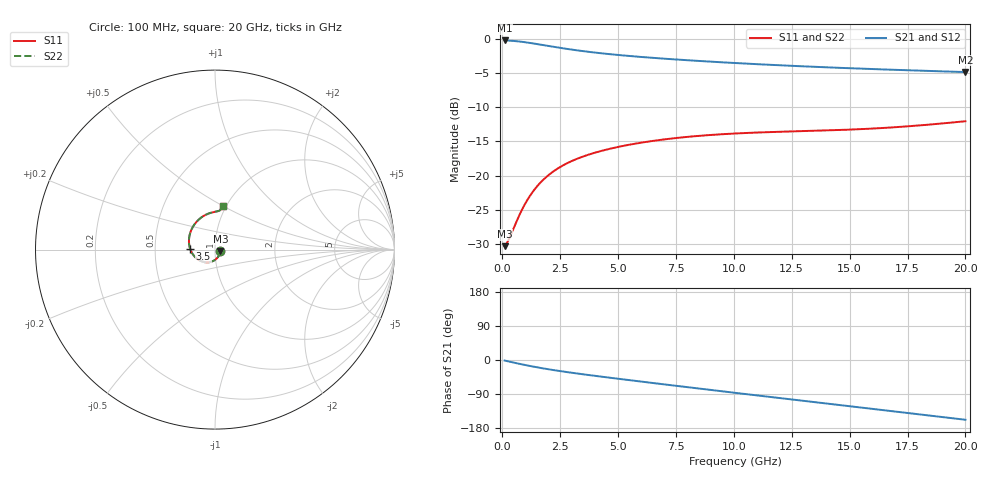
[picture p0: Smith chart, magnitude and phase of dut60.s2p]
! Created with skrf 1.9.0 (http://scikit-rf.org).
# GHz S RI R 50.0
!freq ReS11 ImS11 ReS21 ImS21 ReS12 ImS12 ReS22 ImS22
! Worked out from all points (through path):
!   200 points, 100 MHz to 20 GHz, reference 50 ohm
!   highest |S21| = -0.27 dB at 100 MHz (marker M1); lowest = -4.9 dB at 20 GHz (marker M2)
!   group delay of S21, straight-line fit = 20.7 ps
!   lowest |S11| = -30.3 dB at 100 MHz (marker M3), VSWR 1.06, Z = 53 - j0.807 ohm
!   |S11| at or under -10 dB: start of sweep to end of sweep
!   |S22| runs from -30.3 to -12.1 dB; largest |S21 - S12| = 2.1e-15
!   S11 on the Smith chart (normalised r, x): 100 MHz: 1.06, -0.02; 3.5 GHz: 0.76, +0.01; 20 GHz: 0.96, +0.50
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0.1  0.0296 -0.0076  0.9693 -0.0238  0.9693 -0.0238  0.0296 -0.0076
0.2  0.0284 -0.0152  0.9673 -0.0474  0.9673 -0.0474  0.0284 -0.0152
0.3  0.0264 -0.0227  0.9642 -0.0707  0.9642 -0.0707  0.0264 -0.0227
0.7  0.0101 -0.0489  0.9411 -0.1589  0.9411 -0.1589  0.0101 -0.0489
0.9  -0.00177 -0.0586  0.9244 -0.1991  0.9244 -0.1991  -0.00177 -0.0586
1.2  -0.0224 -0.0679  0.8948 -0.2537  0.8948 -0.2537  -0.0224 -0.0679
1.5  -0.0442 -0.0709  0.8618 -0.3013  0.8618 -0.3013  -0.0442 -0.0709
1.9  -0.072 -0.0663  0.8156 -0.3549  0.8156 -0.3549  -0.072 -0.0663
2.3  -0.0959 -0.0542  0.7694 -0.3992  0.7694 -0.3992  -0.0959 -0.0542
2.8  -0.1189 -0.0325  0.7135 -0.4449  0.7135 -0.4449  -0.1189 -0.0325
3.5  -0.1381 0.00339  0.6398 -0.4964  0.6398 -0.4964  -0.1381 0.00339
4.2  -0.145 0.0398  0.5701 -0.5383  0.5701 -0.5383  -0.145 0.0398
5.1  -0.1411 0.0823  0.4842 -0.582  0.4842 -0.582  -0.1411 0.0823
6.8  -0.1122 0.1436  0.3266 -0.6391  0.3266 -0.6391  -0.1122 0.1436
8.4  -0.076 0.1792  0.1822 -0.6641  0.1822 -0.6641  -0.076 0.1792
10.1  -0.0394 0.1994  0.035 -0.662  0.035 -0.662  -0.0394 0.1994
11.7  -0.0117 0.208  -0.0943 -0.6353  -0.0943 -0.6353  -0.0117 0.208
13.4  0.0092 0.2121  -0.219 -0.5837  -0.219 -0.5837  0.0092 0.2121
15.1  0.0224 0.2159  -0.3277 -0.5112  -0.3277 -0.5112  0.0224 0.2159
16.7  0.0302 0.2221  -0.4129 -0.4268  -0.4129 -0.4268  0.0302 0.2221
18.4  0.0369 0.2326  -0.4829 -0.3233  -0.4829 -0.3233  0.0369 0.2326
20  0.0443 0.2456  -0.5274 -0.2165  -0.5274 -0.2165  0.0443 0.2456
